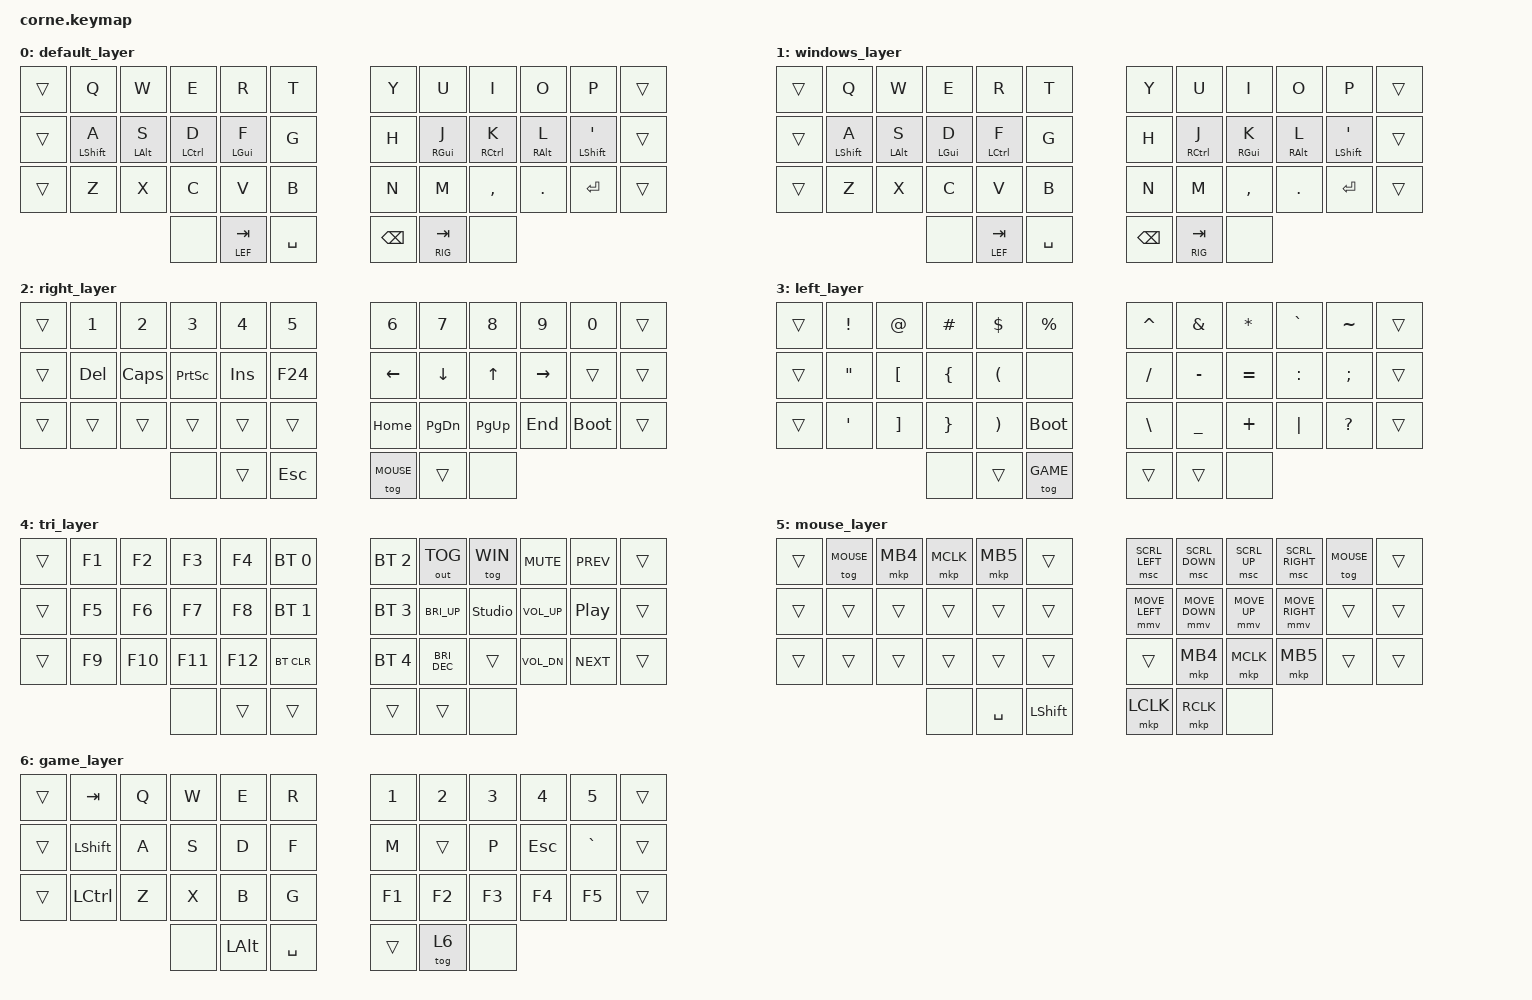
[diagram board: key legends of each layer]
// Copyright (c) 2022 The ZMK Contributors
// SPDX-License-Identifier: MIT

#define ZMK_MOUSE_DEFAULT_MOVE_VAL 2500
#define ZMK_MOUSE_DEFAULT_SCRL_VAL 20

#include <behaviors.dtsi>
#include <dt-bindings/zmk/bt.h>
#include <dt-bindings/zmk/keys.h>
#include <dt-bindings/zmk/outputs.h>
#include <dt-bindings/zmk/pointing.h>

#define MAC 0
#define WIN 1
#define RIG 2
#define LEF 3
#define TRI 4
#define MOUSE 5
#define GAME 6

/ {
    behaviors {
        ht: hold_tap {
            compatible = "zmk,behavior-hold-tap";
            #binding-cells = <2>;
            flavor = "tap-preferred";
            tapping-term-ms = <220>;
            quick-tap-ms = <150>;
            global-quick-tap;
            bindings = <&kp>, <&kp>;
        };
        mmv {
            acceleration-exponent = <1>;      // 1
            time-to-max-speed-ms = <300>;    // 40
            delay-ms = <0>;                   // 0
        };

        msc {
            acceleration-exponent = <0>;      // 0
            time-to-max-speed-ms = <40>;      // 500
            delay-ms = <0>;                   // 10
        };
    };

    conditional_layers {
        compatible = "zmk,conditional-layers";
        tri_layer {
            if-layers = <RIG LEF>;
            then-layer = <TRI>;
        };
    };

    keymap {
        compatible = "zmk,keymap";

        default_layer {
            bindings = <
&trans  &kp Q         &kp W       &kp E        &kp R        &kp T        &kp Y     &kp U        &kp I        &kp O       &kp P           &trans
&trans  &ht LSHIFT A  &ht LALT S  &ht LCTRL D  &ht LGUI F   &kp G        &kp H     &ht RGUI J   &ht RCTRL K  &ht RALT L  &ht LSHIFT SQT  &trans
&trans  &kp Z         &kp X       &kp C        &kp V        &kp B        &kp N     &kp M        &kp COMMA    &kp DOT     &kp ENTER       &trans
                                  &none        &lt LEF TAB  &kp SPACE    &kp BSPC  &lt RIG TAB  &none
            >;
        };

        windows_layer {
            bindings = <
&trans  &kp Q         &kp W       &kp E       &kp R        &kp T        &kp Y     &kp U        &kp I       &kp O       &kp P           &trans
&trans  &ht LSHIFT A  &ht LALT S  &ht LGUI D  &ht LCTRL F  &kp G        &kp H     &ht RCTRL J  &ht RGUI K  &ht RALT L  &ht LSHIFT SQT  &trans
&trans  &kp Z         &kp X       &kp C       &kp V        &kp B        &kp N     &kp M        &kp COMMA   &kp DOT     &kp ENTER       &trans
                                  &none       &lt LEF TAB  &kp SPACE    &kp BSPC  &lt RIG TAB  &none
            >;
        };

        right_layer {
            bindings = <
&trans  &kp N1   &kp N2    &kp N3     &kp N4   &kp N5     &kp N6      &kp N7     &kp N8     &kp N9     &kp N0       &trans
&trans  &kp DEL  &kp CAPS  &kp PSCRN  &kp INS  &kp F24    &kp LEFT    &kp DOWN   &kp UP     &kp RIGHT  &trans       &trans
&trans  &trans   &trans    &trans     &trans   &trans     &kp HOME    &kp PG_DN  &kp PG_UP  &kp END    &bootloader  &trans
                           &none      &trans   &kp ESC    &tog MOUSE  &trans     &none
            >;
        };

        left_layer {
            bindings = <
&trans  &kp EXCL  &kp AT    &kp HASH  &kp DLLR  &kp PRCNT    &kp CARET  &kp AMPS   &kp ASTRK  &kp GRAVE  &kp TILDE  &trans
&trans  &kp DQT   &kp LBKT  &kp LBRC  &kp LPAR  &none        &kp FSLH   &kp MINUS  &kp EQUAL  &kp COLON  &kp SEMI   &trans
&trans  &kp SQT   &kp RBKT  &kp RBRC  &kp RPAR  &bootloader  &kp BSLH   &kp UNDER  &kp PLUS   &kp PIPE   &kp QMARK  &trans
                            &none     &trans    &tog GAME    &trans     &trans     &none
            >;
        };

        tri_layer {
            bindings = <
&trans  &kp F1  &kp F2   &kp F3   &kp F4   &bt BT_SEL 0    &bt BT_SEL 2  &out OUT_TOG   &tog WIN        &kp C_MUTE    &kp C_PREV  &trans
&trans  &kp F5  &kp F6   &kp F7   &kp F8   &bt BT_SEL 1    &bt BT_SEL 3  &kp C_BRI_UP   &studio_unlock  &kp C_VOL_UP  &kp C_PP    &trans
&trans  &kp F9  &kp F10  &kp F11  &kp F12  &bt BT_CLR      &bt BT_SEL 4  &kp C_BRI_DEC  &trans          &kp C_VOL_DN  &kp C_NEXT  &trans
                         &none    &trans   &trans          &trans        &trans         &none
            >;
        };

        mouse_layer {
            bindings = <
&trans  &tog MOUSE  &mkp MB4  &mkp MCLK  &mkp MB5   &trans        &msc SCRL_LEFT  &msc SCRL_DOWN  &msc SCRL_UP  &msc SCRL_RIGHT  &tog MOUSE  &trans
&trans  &trans      &trans    &trans     &trans     &trans        &mmv MOVE_LEFT  &mmv MOVE_DOWN  &mmv MOVE_UP  &mmv MOVE_RIGHT  &trans      &trans
&trans  &trans      &trans    &trans     &trans     &trans        &trans          &mkp MB4        &mkp MCLK     &mkp MB5         &trans      &trans
                              &none      &kp SPACE  &kp LSHIFT    &mkp LCLK       &mkp RCLK       &none
            >;
        };

        game_layer {
            bindings = <
&trans  &kp TAB     &kp Q  &kp W  &kp E     &kp R        &kp N1  &kp N2  &kp N3  &kp N4   &kp N5     &trans
&trans  &kp LSHIFT  &kp A  &kp S  &kp D     &kp F        &kp M   &trans  &kp P   &kp ESC  &kp GRAVE  &trans
&trans  &kp LCTRL   &kp Z  &kp X  &kp B     &kp G        &kp F1  &kp F2  &kp F3  &kp F4   &kp F5     &trans
                           &none  &kp LALT  &kp SPACE    &trans  &tog 6  &none
            >;
        };
    };
};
